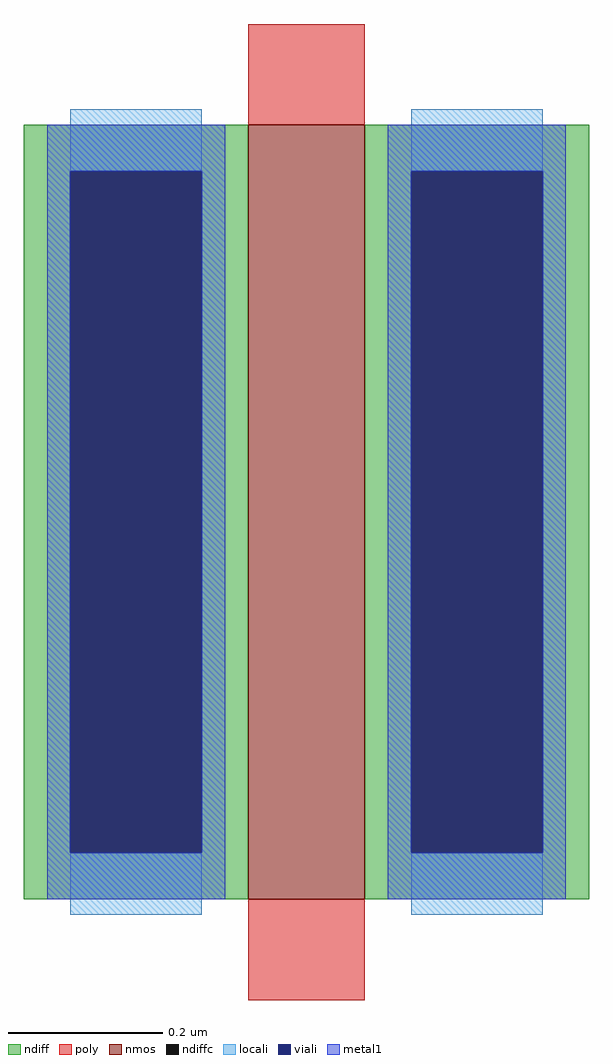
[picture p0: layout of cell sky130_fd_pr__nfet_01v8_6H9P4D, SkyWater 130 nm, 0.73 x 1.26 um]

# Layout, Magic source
magic
tech sky130A
magscale 1 2
<< nmos >>
rect -15 -100 15 100
<< ndiff >>
rect -73 88 -15 100
rect -73 -88 -61 88
rect -27 -88 -15 88
rect -73 -100 -15 -88
rect 15 88 73 100
rect 15 -88 27 88
rect 61 -88 73 88
rect 15 -100 73 -88
<< ndiffc >>
rect -61 -88 -27 88
rect 27 -88 61 88
<< poly >>
rect -15 100 15 126
rect -15 -126 15 -100
<< locali >>
rect -61 88 -27 104
rect -61 -104 -27 -88
rect 27 88 61 104
rect 27 -104 61 -88
<< viali >>
rect -61 -88 -27 88
rect 27 -88 61 88
<< metal1 >>
rect -67 88 -21 100
rect -67 -88 -61 88
rect -27 -88 -21 88
rect -67 -100 -21 -88
rect 21 88 67 100
rect 21 -88 27 88
rect 61 -88 67 88
rect 21 -100 67 -88
<< properties >>
string gencell sky130_fd_pr__nfet_01v8
string library sky130
string parameters w 1 l 0.150 m 1 nf 1 diffcov 100 polycov 100 guard 0 glc 1 grc 1 gtc 1 gbc 1 tbcov 100 rlcov 100 topc 0 botc 0 poverlap 0 doverlap 1 lmin 0.15 wmin 0.42 compatible {sky130_fd_pr__nfet_01v8 sky130_fd_pr__nfet_01v8_lvt  sky130_fd_bs_flash__special_sonosfet_star  sky130_fd_pr__nfet_g5v0d10v5 sky130_fd_pr__nfet_05v0_nvt  sky130_fd_pr__nfet_03v3_nvt} full_metal 1 viasrc 100 viadrn 100 viagate 100 viagb 0 viagr 0 viagl 0 viagt 0
<< end >>
